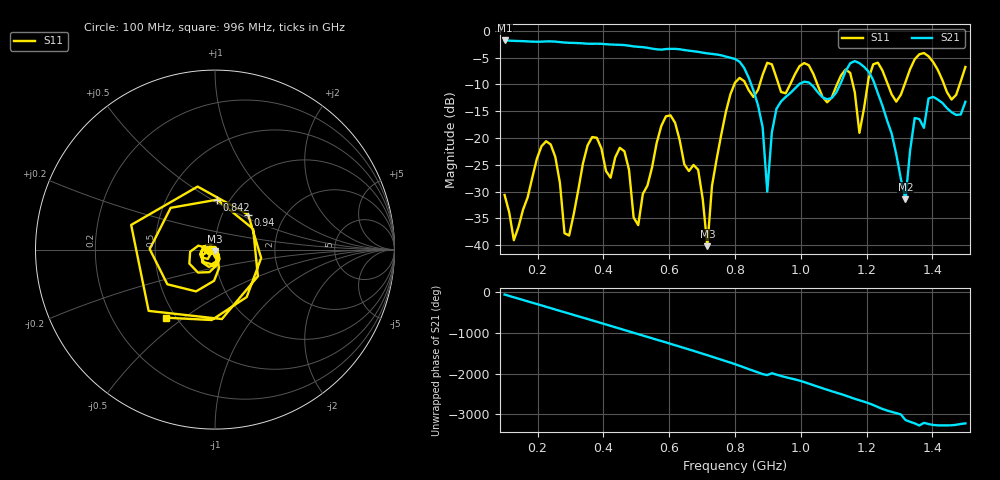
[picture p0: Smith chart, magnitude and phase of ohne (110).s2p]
! NanoVNA-App
! Date: 2025-09-25 14:21:39
! Start: 100MHz Stop: 1,5GHz Points: 101
! S-Parameter data: F S11 S21 S12 S22
# Hz S RI R 50
!  Frequency  S11_Real  S11_Imag  S21_Real  S21_Imag  S12_Real  S12_Imag  S22_Real  S22_Imag
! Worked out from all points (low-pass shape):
!   101 points, 100 MHz to 1.5 GHz, reference 50 ohm
!   highest |S21| = -1.79 dB at 100 MHz (marker M1); lowest = -31.5 dB at 1.318 GHz (marker M2)
!   |S21| within 3 dB of the highest: start of sweep to 771.9 MHz
!   lowest |S11| = -40.2 dB at 716 MHz (marker M3), VSWR 1.02, Z = 49.8 - j0.959 ohm
!   |S11| at or under -10 dB: start of sweep to 797.9 MHz; 833 MHz to 875 MHz (42.03 MHz wide, 4.92 % of centre); 1.05 GHz to 1.11 GHz (59.56 MHz wide, 5.51 % of centre) (the widest 3 of 7)
!   S12 and S22 are empty: the file has one direction only
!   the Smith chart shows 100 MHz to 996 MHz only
!   S11 on the Smith chart (normalised r, x): 100 MHz: 0.94, -0.01; 842 MHz: 0.88, +0.53; 940 MHz: 1.32, +0.56; 996 MHz: 0.44, -0.43
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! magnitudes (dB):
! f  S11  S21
! 100 MHz  -30.6  -1.8
! 128 MHz  -39.1  -1.9
! 226 MHz  -20.6  -2.0
! 296 MHz  -38.2  -2.2
! 338 MHz  -24.7  -2.3
! 464 MHz  -22.5  -2.7
! 506 MHz  -36.3  -3.0
! 576 MHz  -17.8  -3.5
! 688 MHz  -25.9  -3.9
! 716 MHz  -40.2  -4.2
! 800 MHz  -9.7  -5.2
! 842 MHz  -11.1  -8.8
! 898 MHz  -6.0  -30.0
! 940 MHz  -11.4  -13.2
! 996 MHz  -6.6  -9.9
! 1.038 GHz  -8.0  -10.4
! 1.178 GHz  -19.0  -6.0
! 1.22 GHz  -6.2  -9.2
! 1.276 GHz  -11.9  -19.2
! 1.318 GHz  -9.6  -31.5
! 1.346 GHz  -5.3  -16.3
! 1.5 GHz  -6.7  -13.2
